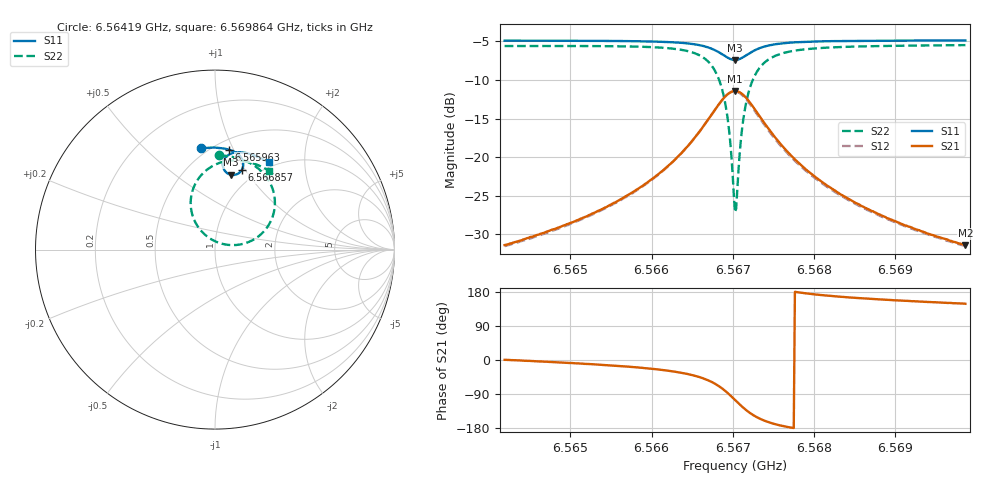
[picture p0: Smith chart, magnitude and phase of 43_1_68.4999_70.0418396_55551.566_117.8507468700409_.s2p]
#  HZ  S  RI  R  50.00
! Rohde & Schwarz Vector Network Analyzer
! Rohde-Schwarz,ZNB20-2Port,1311601062101988,3.16
! Created: UTC 3/20/2024, 5:05:39 PM
! freq[Hz]  re:S11  im:S11  re:S21  im:S21  re:S12  im:S12  re:S22  im:S22
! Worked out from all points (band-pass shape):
!   401 points, 6.56419 GHz to 6.569864 GHz, reference 50 ohm
!   highest |S21| = -11.42 dB at 6.567027 GHz (marker M1); lowest = -31.5 dB at 6.569864 GHz (marker M2)
!   |S21| within 3 dB of the highest: 6.566744 GHz to 6.567311 GHz (567.4 kHz wide, 0.00864 % of centre)
!   lowest |S11| = -7.4 dB at 6.567027 GHz (marker M3), VSWR 2.49, Z = 40.8 + j41.5 ohm
!   |S11| at or under -10 dB: nowhere
!   |S22| runs from -27.1 to -5.5 dB; largest |S21 - S12| = 0.012
!   S11 on the Smith chart (normalised r, x): 6.56419 GHz: 0.46, +0.76; 6.565963 GHz: 0.59, +0.96; 6.566857 GHz: 0.85, +0.97; 6.569864 GHz: 0.93, +1.34
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6.5641899e9  -0.0756 0.564  0.0268 0.000199  0.0264 -0.000135  0.0235 0.5247
6.5651403e9  0.00154 0.568  0.0395 -0.00661  0.0388 -0.00713  0.1114 0.5133
6.565963e9  0.0764 0.5572  0.0641 -0.0264  0.0631 -0.0271  0.2125 0.4718
6.5660907e9  0.0896 0.553  0.0705 -0.0332  0.0695 -0.034  0.2332 0.458
6.5664027e9  0.1245 0.5347  0.091 -0.0642  0.0894 -0.0654  0.2915 0.3968
6.5666155e9  0.1488 0.5073  0.104 -0.1117  0.1017 -0.1136  0.3297 0.3055
6.5667573e9  0.1575 0.4746  0.0976 -0.1684  0.0935 -0.1713  0.3251 0.1969
6.5668566e9  0.1496 0.4446  0.0665 -0.2203  0.0595 -0.2231  0.2706 0.0997
6.5668992e9  0.1399 0.4317  0.0415 -0.2412  0.0328 -0.2429  0.225 0.0617
6.5669417e9  0.1256 0.4217  0.00862 -0.2569  -0.00131 -0.2568  0.1653 0.0345
6.5669701e9  0.1142 0.4173  -0.0168 -0.2626  -0.0274 -0.2611  0.1195 0.0258
6.5670127e9  0.0952 0.4159  -0.0576 -0.262  -0.0684 -0.2574  0.0473 0.0306
6.5670269e9  0.0889 0.4168  -0.071 -0.2589  -0.0818 -0.2536  0.0236 0.0371
6.5670552e9  0.0767 0.4209  -0.0969 -0.2491  -0.1068 -0.2419  -0.0207 0.0575
6.567112e9  0.0571 0.4362  -0.1389 -0.2167  -0.1458 -0.2069  -0.0894 0.1194
6.5671545e9  0.0482 0.4512  -0.1594 -0.1864  -0.1637 -0.176  -0.1199 0.175
6.5672113e9  0.0441 0.4719  -0.1723 -0.1456  -0.1736 -0.1357  -0.1352 0.2475
6.5672822e9  0.048 0.4941  -0.1719 -0.1021  -0.171 -0.0937  -0.1268 0.323
6.5675375e9  0.0871 0.534  -0.1287 -0.0222  -0.1261 -0.0185  -0.0293 0.4561
6.5679772e9  0.1456 0.5422  -0.0767 0.00832  -0.0747 0.00934  0.0924 0.4968
6.5689276e9  0.232 0.5198  -0.0369 0.0146  -0.0362 0.0148  0.2218 0.4774
6.5698638e9  0.3001 0.4856  -0.0228 0.014  -0.0224 0.0142  0.301 0.4392
